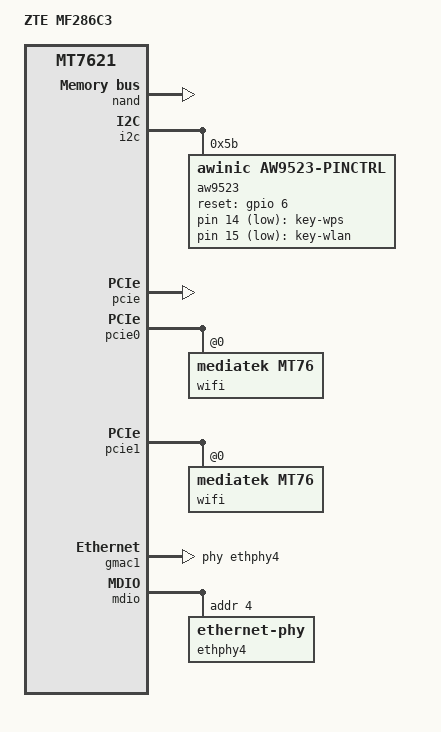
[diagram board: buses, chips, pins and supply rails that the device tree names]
// SPDX-License-Identifier: GPL-2.0-or-later

#include "mt7621.dtsi"

#include <dt-bindings/gpio/gpio.h>
#include <dt-bindings/input/input.h>
#include <dt-bindings/leds/common.h>

/ {
	compatible = "zte,mf286c3", "mediatek,mt7621-soc";
	model = "ZTE MF286C3";

	chosen {
		bootargs-override = "console=ttyS0,57600n8";
	};

	aliases {
		led-boot = &led_status;
		led-failsafe = &led_status;
		led-running = &led_status;
		led-upgrade = &led_status;
	};

	keys {
		compatible = "gpio-keys-polled";
		poll-interval = <50>;
		pinctrl-names = "default";
		pinctrl-0 = <&button_pins>;

		key-wps {
			gpios = <&aw9523 14 GPIO_ACTIVE_LOW>;
			linux,code = <KEY_WPS_BUTTON>;
		};

		key-wlan {
			gpios = <&aw9523 15 GPIO_ACTIVE_LOW>;
			linux,code = <KEY_WLAN>;
		};
	};
};

&nand {
	status = "okay";

	partitions {
		compatible = "fixed-partitions";
		#address-cells = <1>;
		#size-cells = <1>;

		partition@0 {
			label = "Bootloader";
			reg = <0x0 0x80000>;
			read-only;
		};

		partition@80000 {
			label = "Config";
			reg = <0x80000 0x80000>;
			read-only;
		};

		partition@100000 {
			label = "Factory";
			reg = <0x100000 0x100000>;
			read-only;

			nvmem-layout {
				compatible = "fixed-layout";
				#address-cells = <1>;
				#size-cells = <1>;

				eeprom0: eeprom@0 {
					reg = <0x0 0x400>;
				};

				eeprom1: eeprom@8000 {
					reg = <0x8000 0x4da8>;
				};

				macaddr_factory_e000: macaddr@e000 {
					reg = <0xe000 0x6>;
				};

				macaddr_factory_e006: macaddr@e006 {
					reg = <0xe006 0x6>;
				};
			};
		};

		partition@200000 {
			label = "inventory";
			reg = <0x200000 0x100000>;
			read-only;
		};

		partition@300000 {
			label = "customer";
			reg = <0x300000 0x100000>;
			read-only;
		};

		partition@400000 {
			label = "zone";
			reg = <0x400000 0x100000>;
			read-only;
		};

		partition@500000 {
			label = "reserved0";
			reg = <0x500000 0x500000>;
			read-only;
		};

		partition@a00000 {
			label = "kernel";
			reg = <0xa00000 0x500000>;
		};

		partition@f00000 {
			label = "ubi";
			reg = <0xf00000 0x7100000>;
		};
	};
};

&i2c {
	status = "okay";

	aw9523: gpio-expander@5b {
		compatible = "awinic,aw9523-pinctrl";
		reg = <0x5b>;
		gpio-controller;
		#gpio-cells = <2>;
		gpio-ranges = <&aw9523 0 0 16>;

		reset-gpios = <&gpio 6 GPIO_ACTIVE_HIGH>;

		button_pins: button-pins {
			pins = "gpio4", "gpio7", "gpio13", "gpio14";
			function = "gpio";
			input-enable;
		};

		led_pins: led-pins {
			pins = "gpio0", "gpio1", "gpio2", "gpio3", "gpio5", "gpio6",
				"gpio8", "gpio9", "gpio10", "gpio11", "gpio12";
			function = "gpio";
			input-disable;
			output-low;
		};
	};
};

&pcie {
	status = "okay";
};

&pcie0 {
	wifi@0,0 {
		compatible = "mediatek,mt76";
		reg = <0x0 0 0 0 0>;
		ieee80211-freq-limit = <2400000 2500000>;
		nvmem-cells = <&eeprom0>;
		nvmem-cell-names = "eeprom";
	};
};

&pcie1 {
	wifi@0,0 {
		compatible = "mediatek,mt76";
		reg = <0x0 0 0 0 0>;
		ieee80211-freq-limit = <5000000 6000000>;
		nvmem-cells = <&eeprom1>;
		nvmem-cell-names = "eeprom";
	};
};

&gmac0 {
	nvmem-cells = <&macaddr_factory_e000>;
	nvmem-cell-names = "mac-address";
};

&gmac1 {
	nvmem-cells = <&macaddr_factory_e006>;
	nvmem-cell-names = "mac-address";
	status = "okay";
	label = "wan";
	phy-handle = <&ethphy4>;
};

&mdio {
	ethphy4: ethernet-phy@4 {
		reg = <4>;
	};
};

&switch0 {
	ports {
		port@0 {
			status = "okay";
			label = "lan4";
		};

		port@1 {
			status = "okay";
			label = "lan3";
		};

		port@2 {
			status = "okay";
			label = "lan2";
		};

		port@3 {
			status = "okay";
			label = "lan1";
		};
	};
};
